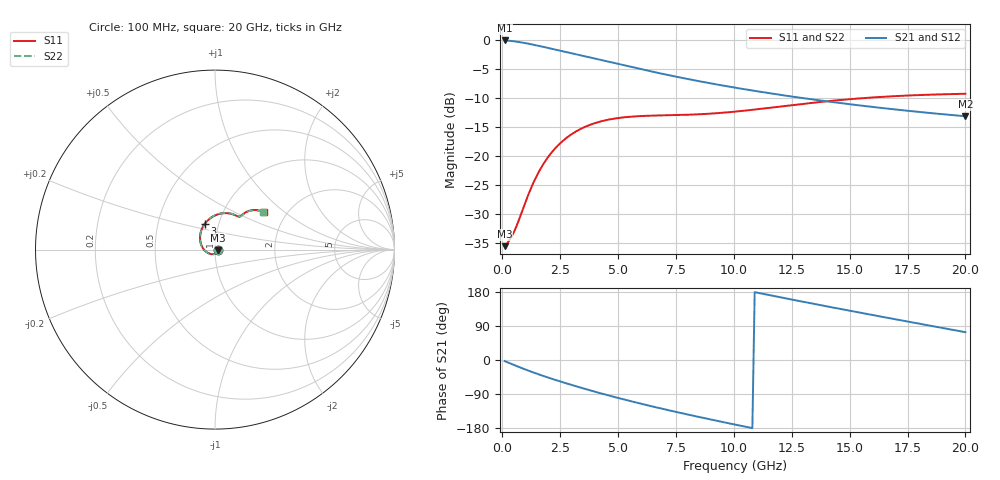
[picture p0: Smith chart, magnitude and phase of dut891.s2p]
! Touchstone file exported from HFSS 2024.1.0
!  File:  C:/UserFiles/LocalFiles/RDL_TSV_Batchsim/temp_RDL_TSV_891_1779932519.aedt
!  Generated:  09:56:40 AM May 28, 2026
!  Design:  RDL_TSV
!  Project:  temp_RDL_TSV_891_1779932519
!  Setup:  Setup1
!  Solution:  Sweep
! Variables:
!  dtsv = 14.82um
!  hbump = 3um
!  htsv = 88.42um
!  ldown = 488.23um
!  lrdl = 650.8um
!  p = 40
!  p1 = 53.16um
!  rhole = 10um
!  subl = 4067.89um
!  t = 450um
!  tdown = 3.15um
!  trdl = 3.7um
!  viad = 10um
!  wdown = 29.99um
!  wrdl = 23.63um
!  xbump = 18um
# GHz S MA R 50.000000
! Terminal data exported
! Port[1] = TM1_1_T1
! Port[2] = TM1_4_T1
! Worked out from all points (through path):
!   200 points, 100 MHz to 20 GHz, reference 50 ohm
!   highest |S21| = -0.15 dB at 100 MHz (marker M1); lowest = -13.2 dB at 20 GHz (marker M2)
!   group delay of S21, straight-line fit = 37.6 ps
!   lowest |S11| = -35.6 dB at 100 MHz (marker M3), VSWR 1.03, Z = 51.6 - j0.427 ohm
!   |S11| at or under -10 dB: start of sweep to 15.86 GHz
!   |S22| runs from -35.6 to -9.4 dB; largest |S21 - S12| = 1e-14
!   S11 on the Smith chart (normalised r, x): 100 MHz: 1.03, -0.01; 3 GHz: 0.86, +0.25; 20 GHz: 1.54, +0.72
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0.1  0.01667 -14.4  0.9826 -2.7  0.9826 -2.7  0.01667 -14.4
! Gamma 0 0 0 0
! Port Impedance 50 0 50 0
0.3  0.01865 -46.9  0.9761 -7.9  0.9761 -7.9  0.01864 -46.9
0.5  0.02197 -80.9  0.9665 -13.0  0.9665 -13.0  0.02196 -80.9
1  0.03989 -147.3  0.932 -25.1  0.932 -25.1  0.03992 -147.4
1.5  0.06792 173.1  0.8893 -36.3  0.8893 -36.3  0.06804 173.1
1.8  0.08645 156.3  0.8628 -42.7  0.8628 -42.7  0.08664 156.3
2.2  0.1109 138.5  0.8279 -50.7  0.8279 -50.7  0.1112 138.4
2.6  0.1336 124.1  0.7942 -58.5  0.7942 -58.5  0.134 124.0
3  0.1537 112.1  0.7616 -66.0  0.7616 -66.0  0.1542 112.1
3.5  0.1746 99.8  0.7226 -75.0  0.7226 -75.0  0.1752 99.7
4.3  0.1985 84.3  0.6638 -88.7  0.6638 -88.7  0.1993 84.3
5.1  0.2124 73.0  0.6098 -101.7  0.6098 -101.7  0.2134 72.9
5.9  0.2192 64.9  0.5611 -114.0  0.5611 -114.0  0.2203 64.8
6.8  0.2225 58.9  0.5128 -127.2  0.5128 -127.2  0.2235 58.7
8.3  0.2266 54.0  0.446 -147.8  0.446 -147.8  0.2276 53.8
10.1  0.2403 52.4  0.3842 -171.0  0.3842 -171.0  0.2408 52.0
11.8  0.2623 51.1  0.3392 168.0  0.3392 168.0  0.2623 50.8
13.4  0.2857 48.9  0.3054 148.8  0.3054 148.8  0.2852 48.6
15  0.3068 46.0  0.2778 130.1  0.2778 130.1  0.3059 45.8
16.7  0.3239 42.6  0.2537 110.6  0.2537 110.6  0.3227 42.5
18.3  0.3347 39.8  0.2352 92.5  0.2352 92.5  0.3332 39.7
20  0.3417 37.4  0.2188 73.4  0.2188 73.4  0.3401 37.4
